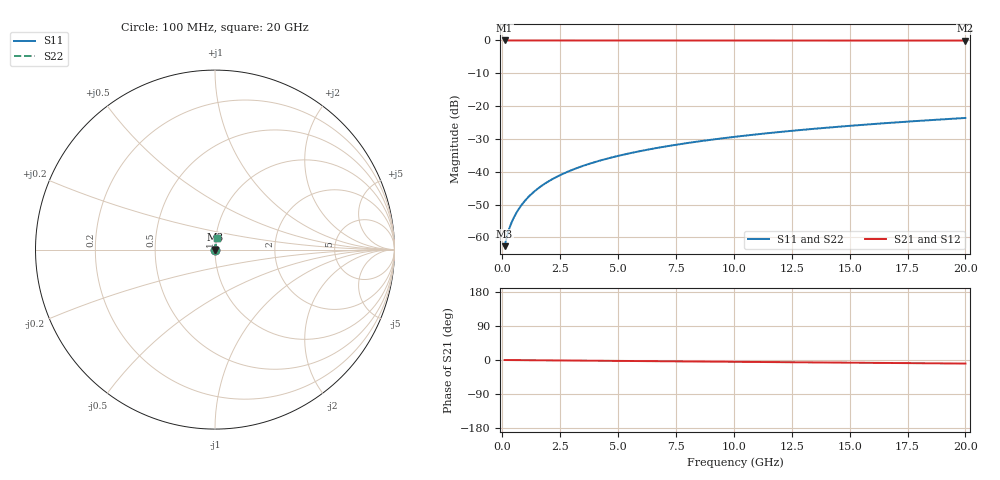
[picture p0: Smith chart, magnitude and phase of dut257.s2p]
! Touchstone file exported from HFSS 2026.1.0
!  File:  C:/ffzhzh/LocalFiles/Ansys_Project_Files/temp_train_TMRDL_257_1782984942_40604.aedt
!  Generated:  05:36:52 PM Jul  2, 2026
!  Design:  TMRDL
!  Project:  temp_train_TMRDL_257_1782984942_40604
! Variables:
!  h_bsmrdl = 2um
!  h_ox = 20um
!  h_rdl = 5um
!  h_sub = 80um
!  h_tmrdl = 3.96um
!  h_tsv = 80um
!  h_via = 3um
!  l_bsmrdl = 300um
!  l_sub = 522.32um
!  l_tmrdl = 122.32um
!  m_sub = 200um
!  pitch = 45.27um
!  r_tsv = 6um
!  s_tmrdl = 10um
!  w_bsmrdl = 18um
!  w_sub = 500um
!  w_tmrdl = 29.96um
!  x_tsv_center1 = 137.3um
!  x_tsv_center2 = 455.3um
!  x_tsv_center3 = 607.58um
!  x_tsv_center4 = 925.58um
!  x_tsv_center5 = 1077.86um
!  x_tsv_center6 = 1395.86um
# GHz S MA R 50.000000
! Terminal data exported
! Port[1] = TM_RDL1_1_T1
! Port[2] = TM_RDL1_1_T2
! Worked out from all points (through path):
!   200 points, 100 MHz to 20 GHz, reference 50 ohm
!   highest |S21| = -0.01 dB at 100 MHz (marker M1); lowest = 0.0 dB at 20 GHz (marker M2)
!   group delay of S21, straight-line fit = 1.3 ps
!   lowest |S11| = -62.7 dB at 100 MHz (marker M3), VSWR 1.00, Z = 50.1 + j0.0425 ohm
!   |S11| at or under -10 dB: start of sweep to end of sweep
!   |S22| runs from -62.7 to -23.6 dB; largest |S21 - S12| = 5.3e-15
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0.1  0.0007359 35.2  0.9994 -0.1  0.9994 -0.1  0.0007359 35.2
! Gamma 0 0 0 0
! Port Impedance 50 0 50 0
0.2  0.001042 51.2  0.9993 -0.1  0.9993 -0.1  0.001042 51.2
0.3  0.001364 59.2  0.9993 -0.2  0.9993 -0.2  0.001364 59.2
0.4  0.001687 64.2  0.9993 -0.2  0.9993 -0.2  0.001687 64.2
0.5  0.002012 67.8  0.9992 -0.2  0.9992 -0.2  0.002012 67.8
0.6  0.002341 70.6  0.9992 -0.3  0.9992 -0.3  0.002341 70.6
0.8  0.00301 74.4  0.9992 -0.4  0.9992 -0.4  0.00301 74.4
1.1  0.004034 77.8  0.9992 -0.5  0.9992 -0.5  0.004034 77.8
1.3  0.004724 79.2  0.9991 -0.6  0.9991 -0.6  0.004724 79.2
1.6  0.005765 80.6  0.9991 -0.8  0.9991 -0.8  0.005765 80.6
2.1  0.007503 81.9  0.999 -1.0  0.999 -1.0  0.007503 81.9
2.7  0.009584 82.7  0.9989 -1.3  0.9989 -1.3  0.009584 82.7
3.5  0.01234 83.1  0.9988 -1.7  0.9988 -1.7  0.01234 83.1
4.2  0.01473 83.1  0.9986 -2.0  0.9986 -2.0  0.01473 83.1
5  0.01744 83.0  0.9985 -2.4  0.9985 -2.4  0.01744 83.0
5.9  0.02046 82.9  0.9983 -2.8  0.9983 -2.8  0.02046 82.9
6.8  0.02345 82.6  0.998 -3.2  0.998 -3.2  0.02345 82.6
8.3  0.02839 82.2  0.9977 -3.9  0.9977 -3.9  0.02839 82.2
10.1  0.03426 81.6  0.9972 -4.8  0.9972 -4.8  0.03426 81.6
13.4  0.04493 80.4  0.9964 -6.3  0.9964 -6.3  0.04493 80.4
16.7  0.05549 79.2  0.9956 -7.9  0.9956 -7.9  0.05549 79.2
20  0.06596 77.9  0.9947 -9.4  0.9947 -9.4  0.06596 77.9
